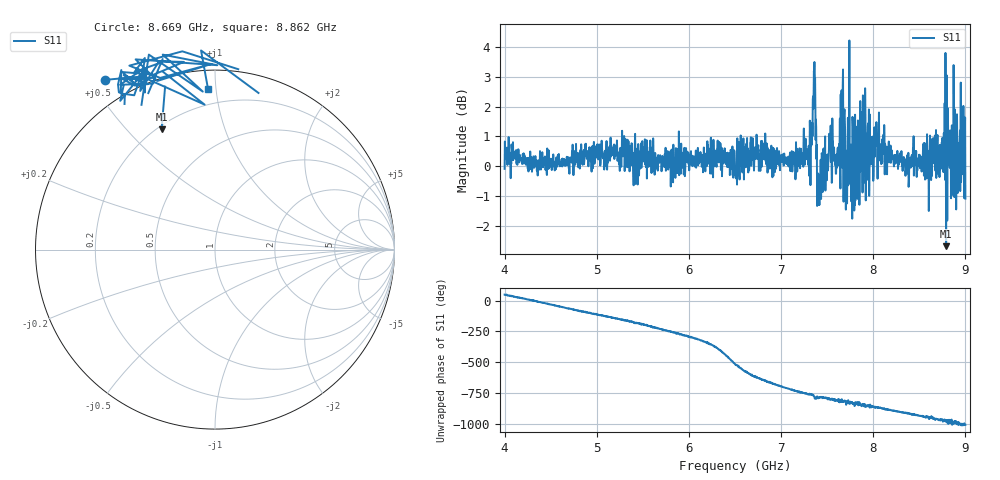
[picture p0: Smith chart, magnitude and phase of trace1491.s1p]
! Created with skrf 1.8.0 (http://scikit-rf.org).
# Hz S RI R 50.0
!freq ReS11 ImS11
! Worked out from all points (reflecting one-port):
!   1601 points, 4 GHz to 9 GHz, reference 50 ohm
!   lowest |S11| = -2.7 dB at 8.791 GHz (marker M1), VSWR 6.50, Z = 10.8 + j31.4 ohm
!   phase of S11 starts at 49 deg and turns -1054 deg over the sweep
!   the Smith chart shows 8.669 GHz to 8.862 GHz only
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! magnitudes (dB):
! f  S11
! 4 GHz  -0.1
! 4.625 GHz  0.0
! 5.25 GHz  -0.2
! 5.875 GHz  0.1
! 6.331 GHz  0.4
! 6.5 GHz  0.1
! 6.806 GHz  0.3
! 7.125 GHz  0.3
! 7.294 GHz  0.0
! 7.356 GHz  3.2
! 7.412 GHz  -0.7
! 7.541 GHz  0.1
! 7.619 GHz  0.6
! 7.672 GHz  3.3
! 7.703 GHz  -1.5
! 7.75 GHz  0.3
! 7.769 GHz  -0.9
! 7.822 GHz  1.0
! 7.909 GHz  1.0
! 7.928 GHz  1.1
! 7.981 GHz  0.1
! 8.038 GHz  0.9
! 8.375 GHz  -0.1
! 8.725 GHz  0.5
! 8.791 GHz  -2.7
! 8.844 GHz  -1.1
! 8.972 GHz  0.6
! 9 GHz  -1.1
